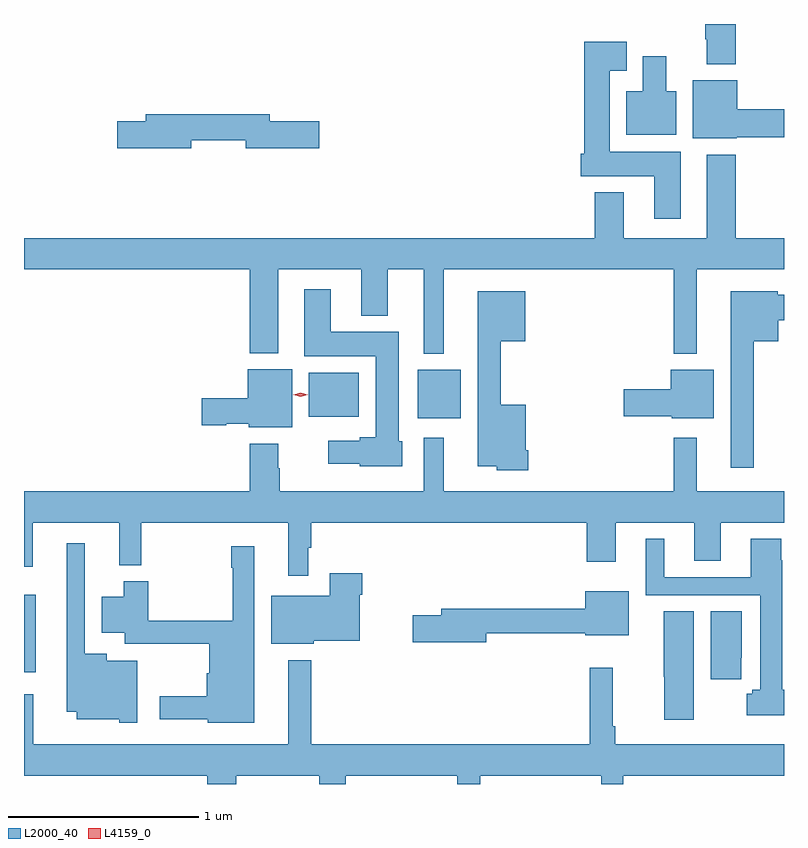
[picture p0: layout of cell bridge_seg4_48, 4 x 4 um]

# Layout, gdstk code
import gdstk
lib = gdstk.Library(unit=1e-6, precision=1e-09)
def R(c, l, rs):  # rectangles x0, y0, x1, y1
    for r in rs: c.add(gdstk.rectangle(r[:2], r[2:], *l))
def P(c, l, *ps):  # polygons
    for p in ps: c.add(gdstk.Polygon(p, *l))
L2000_40 = (2000, 40)
L4159_0 = (4159, 0)

bridge_seg4_48 = lib.new_cell('bridge_seg4_48')
R(bridge_seg4_48, L2000_40, [(744.486,829.331,744.547,829.741), (746.558,830.669,746.785,830.923), (745.985,830.678,746.248,830.908)])
P(bridge_seg4_48, L2000_40, [(748.232,832.744),(748.072,832.744),(748.072,832.664),(748.079,832.664),(748.079,832.532),(748.232,832.532)],
  [(747.943,832.072),(747.568,832.072),(747.568,832.499),(747.658,832.499),(747.658,832.651),(747.434,832.651),(747.434,832.062),(747.416,832.062),(747.416,831.944),(747.803,831.944),(747.803,831.72),(747.943,831.72)],
  [(747.919,832.39),(747.865,832.39),(747.865,832.573),(747.743,832.573),(747.743,832.39),(747.656,832.39),(747.656,832.16),(747.919,832.16)],
  [(748.236,832.148),(748.486,832.148),(748.486,832.295),(748.24,832.295),(748.24,832.447),(748.007,832.447),(748.007,832.142),(748.236,832.142)],
  [(745.366,832.132),(745.652,832.132),(745.652,832.09),(746.041,832.09),(746.041,832.232),(745.78,832.232),(745.78,832.268),(745.127,832.268),(745.127,832.232),(744.978,832.232),(744.978,832.09),(745.366,832.09)],
  [(746.695,831.452),(747.906,831.452),(747.906,831.008),(748.027,831.008),(748.027,831.452),(748.486,831.452),(748.486,831.616),(748.232,831.616),(748.232,832.057),(748.079,832.057),(748.079,831.616),(747.643,831.616),(747.643,831.859),(747.491,831.859),(747.491,831.616),(744.486,831.616),(744.486,831.452),(745.673,831.452),(745.673,831.011),(745.825,831.011),(745.825,831.452),(746.261,831.452),(746.261,831.209),(746.401,831.209),(746.401,831.452),(746.591,831.452),(746.591,831.008),(746.695,831.008)],
  [(746.476,830.547),(746.458,830.547),(746.458,831.124),(746.101,831.124),(746.101,831.349),(745.961,831.349),(745.961,830.996),(746.336,830.996),(746.336,830.569),(746.253,830.569),(746.253,830.551),(746.088,830.551),(746.088,830.429),(746.253,830.429),(746.253,830.417),(746.476,830.417)],
  [(747.14,830.5),(747.127,830.5),(747.127,830.74),(746.995,830.74),(746.995,831.074),(747.124,831.074),(747.124,831.337),(746.873,831.337),(746.873,830.417),(746.973,830.417),(746.973,830.396),(747.14,830.396)],
  [(748.327,831.074),(748.456,831.074),(748.456,831.185),(748.486,831.185),(748.486,831.319),(748.452,831.319),(748.452,831.337),(748.205,831.337),(748.205,830.409),(748.327,830.409)],
  [(745.897,830.926),(745.664,830.926),(745.664,830.774),(745.422,830.774),(745.422,830.632),(745.551,830.632),(745.551,830.639),(745.668,830.639),(745.668,830.621),(745.897,830.621)],
  [(748.117,830.923),(747.89,830.923),(747.89,830.822),(747.642,830.822),(747.642,830.68),(747.894,830.68),(747.894,830.669),(748.117,830.669)],
  [(745.833,830.405),(745.825,830.405),(745.825,830.536),(745.673,830.536),(745.673,830.284),(744.486,830.284),(744.486,829.887),(744.533,829.887),(744.533,830.12),(744.986,830.12),(744.986,829.895),(745.103,829.895),(745.103,830.12),(745.877,830.12),(745.877,829.839),(745.981,829.839),(745.981,829.988),(745.999,829.988),(745.999,830.12),(747.449,830.12),(747.449,829.914),(747.601,829.914),(747.601,830.12),(748.013,830.12),(748.013,829.918),(748.153,829.918),(748.153,830.12),(748.486,830.12),(748.486,830.284),(748.027,830.284),(748.027,830.566),(747.906,830.566),(747.906,830.284),(746.695,830.284),(746.695,830.566),(746.591,830.566),(746.591,830.284),(745.833,830.284)],
  [(748.486,829.241),(748.478,829.241),(748.478,829.922),(748.472,829.922),(748.472,830.035),(748.31,830.035),(748.31,829.833),(747.856,829.833),(747.856,830.035),(747.758,830.035),(747.758,829.737),(748.362,829.737),(748.362,829.24),(748.32,829.24),(748.32,829.22),(748.291,829.22),(748.291,829.106),(748.486,829.106)],
  [(745.081,829.393),(744.922,829.393),(744.922,829.429),(744.807,829.429),(744.807,830.011),(744.71,830.011),(744.71,829.124),(744.764,829.124),(744.764,829.085),(744.987,829.085),(744.987,829.067),(745.081,829.067)],
  [(745.699,829.996),(745.578,829.996),(745.578,829.883),(745.585,829.883),(745.585,829.604),(745.14,829.604),(745.14,829.81),(745.01,829.81),(745.01,829.729),(744.896,829.729),(744.896,829.541),(745.016,829.541),(745.016,829.483),(745.46,829.483),(745.46,829.326),(745.448,829.326),(745.448,829.207),(745.2,829.207),(745.2,829.085),(745.452,829.085),(745.452,829.067),(745.699,829.067)],
  [(746.01,829.499),(746.254,829.499),(746.254,829.739),(746.267,829.739),(746.267,829.852),(746.096,829.852),(746.096,829.735),(745.787,829.735),(745.787,829.481),(746.01,829.481)],
  [(746.92,829.537),(747.44,829.537),(747.44,829.526),(747.67,829.526),(747.67,829.759),(747.44,829.759),(747.44,829.666),(746.681,829.666),(746.681,829.632),(746.532,829.632),(746.532,829.49),(746.92,829.49)],
  [(748.261,829.408),(748.264,829.408),(748.264,829.652),(748.1,829.652),(748.1,829.296),(748.261,829.296)],
  [(748.012,829.652),(747.854,829.652),(747.854,829.308),(747.857,829.308),(747.857,829.083),(748.012,829.083)],
  [(745.603,828.788),(746.039,828.788),(746.039,828.744),(746.179,828.744),(746.179,828.788),(746.765,828.788),(746.765,828.744),(746.887,828.744),(746.887,828.788),(747.523,828.788),(747.523,828.744),(747.64,828.744),(747.64,828.788),(748.486,828.788),(748.486,828.952),(747.599,828.952),(747.599,829.048),(747.584,829.048),(747.584,829.357),(747.463,829.357),(747.463,828.952),(745.999,828.952),(745.999,829.396),(745.877,829.396),(745.877,828.952),(744.534,828.952),(744.534,829.216),(744.486,829.216),(744.486,828.788),(745.451,828.788),(745.451,828.744),(745.603,828.744)])
P(bridge_seg4_48, L4159_0, [(745.942,830.783),(745.903,830.793),(745.903,830.793),(745.903,830.793),(745.942,830.803),(745.98,830.793),(745.98,830.793),(745.98,830.793)])

lib.write_gds('bridge_seg4_48.gds')
